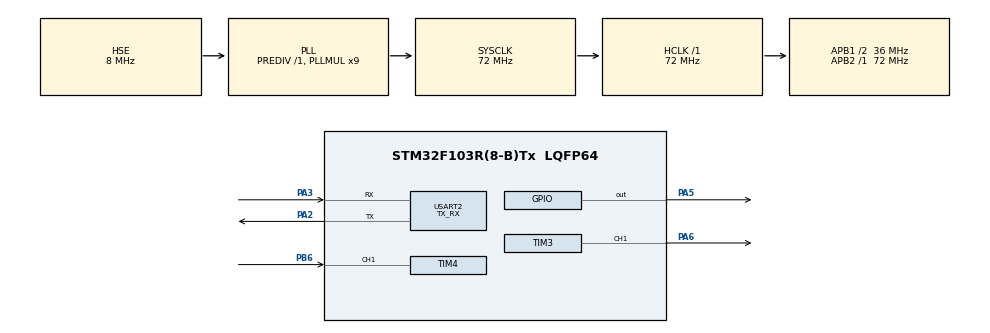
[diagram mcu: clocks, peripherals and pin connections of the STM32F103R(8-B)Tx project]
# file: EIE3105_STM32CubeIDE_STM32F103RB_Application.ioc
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Mcu.Family=STM32F1
Mcu.Name=STM32F103R(8-B)Tx
Mcu.Package=LQFP64
NVIC.PriorityGroup=NVIC_PRIORITYGROUP_4
NVIC.TIM4_IRQn=true\:0\:0\:false\:false\:true\:true\:true\:true
PA13.Mode=Serial_Wire
PA13.Signal=SYS_JTMS-SWDIO
PA14.Mode=Serial_Wire
PA14.Signal=SYS_JTCK-SWCLK
PA2.Mode=Asynchronous
PA2.Signal=USART2_TX
PA3.Mode=Asynchronous
PA3.Signal=USART2_RX
PA5.Signal=GPIO_Output
PA6.Signal=S_TIM3_CH1
PB6.Signal=S_TIM4_CH1
PD0-OSC_IN.Mode=HSE-External-Oscillator
PD0-OSC_IN.Signal=RCC_OSC_IN
PD1-OSC_OUT.Mode=HSE-External-Oscillator
PD1-OSC_OUT.Signal=RCC_OSC_OUT
ProjectManager.HeapSize=0x200
ProjectManager.StackSize=0x400
ProjectManager.TargetToolchain=STM32CubeIDE
RCC.AHBFreq_Value=72000000
RCC.APB1CLKDivider=RCC_HCLK_DIV2
RCC.APB1Freq_Value=36000000
RCC.APB1TimFreq_Value=72000000
RCC.APB2Freq_Value=72000000
RCC.APB2TimFreq_Value=72000000
RCC.HCLKFreq_Value=72000000
RCC.PLLMUL=RCC_PLL_MUL9
RCC.PLLSourceVirtual=RCC_PLLSOURCE_HSE
RCC.SYSCLKFreq_VALUE=72000000
RCC.SYSCLKSource=RCC_SYSCLKSOURCE_PLLCLK
RCC.USBFreq_Value=72000000
SH.S_TIM3_CH1.0=TIM3_CH1,PWM Generation1 CH1
SH.S_TIM4_CH1.0=TIM4_CH1,Input_Capture1_from_TI1
TIM3.Channel-PWM\ Generation1\ CH1=TIM_CHANNEL_1
TIM3.Period=200
TIM3.Prescaler=720-1
TIM3.Pulse-PWM\ Generation1\ CH1=0
TIM4.Channel-Input_Capture1_from_TI1=TIM_CHANNEL_1
TIM4.Period=65535
TIM4.Prescaler=720-1
USART2.Mode=MODE_TX_RX
USART2.VirtualMode=VM_ASYNC
VP_TIM3_VS_ClockSourceINT.Mode=Internal
VP_TIM4_VS_ClockSourceINT.Mode=Internal
board=custom

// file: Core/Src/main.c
/* USER CODE BEGIN Header */
/**
  ******************************************************************************
  * @file           : main.c
  * @brief          : Main program body
  ******************************************************************************
  * @attention
  *
  * Copyright (c) 2025 STMicroelectronics.
  * All rights reserved.
  *
  * This software is licensed under terms that can be found in the LICENSE file
  * in the root directory of this software component.
  * If no LICENSE file comes with this software, it is provided AS-IS.
  *
  ******************************************************************************
  */
#include <stdio.h>
#include <stdio.h>
#include <stdint.h>
#include <inttypes.h>
#include <string.h>

/* USER CODE END Header */
#include "main.h"

TIM_HandleTypeDef htim3;
TIM_HandleTypeDef htim4;

UART_HandleTypeDef huart2;

/* USER CODE BEGIN PV */
volatile uint32_t ic_value1 = 0; // Capture value at the first edge
volatile uint32_t ic_value2 = 0; // Capture value at the second edge
volatile uint32_t pulse_width_ticks_measured = 0; // High time in timer ticks
volatile uint8_t is_rising_edge = 1; // Flag to track edge detection

/* USER CODE END PV */

void SystemClock_Config(void);
static void MX_GPIO_Init(void);
static void MX_TIM3_Init(void);
static void MX_TIM4_Init(void);
static void MX_USART2_UART_Init(void);

/* USER CODE BEGIN 0 */

void delay(int t) {
 for(int i = 0; i < t; i++) {
	 HAL_GPIO_WritePin(GPIOA, GPIO_PIN_0, GPIO_PIN_SET);
 }
}

/* USER CODE BEGIN 0 */
void HAL_TIM_IC_CaptureCallback(TIM_HandleTypeDef *htim)
{
	if (htim->Instance == TIM4 && htim->Channel == HAL_TIM_ACTIVE_CHANNEL_1)
	{
		if (is_rising_edge)
		{
			// Capture rising edge
			ic_value1 = HAL_TIM_ReadCapturedValue(htim, TIM_CHANNEL_1);
			// Switch to detect falling edge
			__HAL_TIM_SET_CAPTUREPOLARITY(htim, TIM_CHANNEL_1, TIM_INPUTCHANNELPOLARITY_FALLING);
			is_rising_edge = 0;
		}
		else
		{
			// Capture falling edge
			ic_value2 = HAL_TIM_ReadCapturedValue(htim, TIM_CHANNEL_1);
			if (ic_value2 > ic_value1) // Calculate pulse width
			{
				pulse_width_ticks_measured = ic_value2 - ic_value1;
			}
//			else
//			{ // Handle overflow
//				pulse_width_measured = (0xFFFF - ic_value1) + ic_value2 + 1;
//			}
			// Switch back to detect the rising edge
			__HAL_TIM_SET_CAPTUREPOLARITY(htim, TIM_CHANNEL_1, TIM_INPUTCHANNELPOLARITY_RISING);
			is_rising_edge = 1;
		}
	}
}

/* USER CODE END 0 */

int main(void)
{

  /* MCU Configuration--------------------------------------------------------*/

  /* Reset of all peripherals, Initializes the Flash interface and the Systick. */
  HAL_Init();

  /* Configure the system clock */
  SystemClock_Config();

  /* Initialize all configured peripherals */
  MX_GPIO_Init();
  MX_TIM3_Init();
  MX_TIM4_Init();
  MX_USART2_UART_Init();
  /* USER CODE BEGIN 2 */
  HAL_TIM_IC_Start_IT(&htim4, TIM_CHANNEL_1);
  uint8_t tx_buffer[60] = { 0 };
  uint8_t rx_buffer[60] = { 0 };
  uint8_t rx_buffer_index = 0;
  uint8_t rx_char = 0;
  uint32_t previous_pulse_width_requested = 0;
  uint32_t pulse_width_requested = 0;

  /* USER CODE END 2 */

  /* Infinite loop */
  /* USER CODE BEGIN WHILE */
  while (1)
  {
	memset(tx_buffer,'\0', sizeof(tx_buffer));

	snprintf((char*)tx_buffer, sizeof(tx_buffer), "%" PRIu32 " ticks per period, %" PRIu32 "Hz per period, Prescaler is %" PRIu32 "\n", htim3.Init.Period, (HAL_RCC_GetSysClockFreq() / (htim3.Init.Prescaler * htim3.Init.Period)), htim3.Init.Prescaler);
	if(HAL_UART_Transmit(&huart2, tx_buffer, sizeof(tx_buffer), 0xFFFF) != HAL_OK)
	{
		Error_Handler();
	}

	memset(tx_buffer,'\0', sizeof(tx_buffer));
	snprintf((char*)tx_buffer, sizeof(tx_buffer), "New pulse width (%%) ('n' to read external PWM):\n");
	if(HAL_UART_Transmit(&huart2, tx_buffer, sizeof(tx_buffer), 0xFFFF) != HAL_OK)
	{
		Error_Handler();
	}

	rx_buffer_index = 0;

	do {
		if(HAL_UART_Receive(&huart2, &rx_char, 1, 0xFFFF) != HAL_OK)
		{
			Error_Handler();
			break;
		} else {
			rx_buffer[rx_buffer_index++] = rx_char;
			huart2.Instance->DR = rx_char;
			if (rx_char == '\n') {
				break;
			}
		}
	} while (1);

	memset(tx_buffer,'\0', sizeof(tx_buffer));
	if (rx_buffer[0] != 'n')
	{
		snprintf((char*)tx_buffer, sizeof(tx_buffer), "Setting PWM...\n");
		if(HAL_UART_Transmit(&huart2, tx_buffer, sizeof(tx_buffer), 0xFFFF) != HAL_OK)
		{
			Error_Handler();
		}
		sscanf((char*)rx_buffer, "%" SCNu32 "\n" , &pulse_width_requested);
		HAL_TIM_PWM_Start(&htim3, TIM_CHANNEL_1);
	} else {
		pulse_width_ticks_measured = 0;
		pulse_width_requested = 0;

		HAL_TIM_PWM_Stop(&htim3, TIM_CHANNEL_1);
	}

	if (pulse_width_requested == 0 || previous_pulse_width_requested != pulse_width_requested) {
		memset(tx_buffer,'\0', sizeof(tx_buffer));

		if (pulse_width_requested > 0) {
			uint32_t on_ticks_requested = pulse_width_requested * (htim3.Init.Period / 100);
			snprintf((char*)tx_buffer, sizeof(tx_buffer), "Pulse width requested %" PRIu32 "%%, equal to %" PRIu32 " HIGH ticks\n", pulse_width_requested, on_ticks_requested);
			__HAL_TIM_SET_COMPARE(&htim3, TIM_CHANNEL_1, on_ticks);
		} else {
			snprintf((char*)tx_buffer, sizeof(tx_buffer), "Reading external PWM source\n");
		}

		if(HAL_UART_Transmit(&huart2, tx_buffer, sizeof(tx_buffer), 0xFFFF) != HAL_OK)
		{
			Error_Handler();
		}

		HAL_Delay(2000);

		previous_pulse_width_requested = pulse_width_requested;
	}

	memset(tx_buffer, '\0', sizeof(tx_buffer));
	snprintf((char*)tx_buffer, sizeof(tx_buffer), "Pulse width measured %" PRIu32 "%%, equal to %" PRIu32 " HIGH ticks\n=======\n", pulse_width_ticks_measured * 100 / htim3.Init.Period, pulse_width_ticks_measured);
	if(HAL_UART_Transmit(&huart2, tx_buffer, sizeof(tx_buffer), 0xFFFF) != HAL_OK)
	{
		Error_Handler();
	}

    /* USER CODE END WHILE */

    /* USER CODE BEGIN 3 */
//	HAL_GPIO_WritePin(GPIOA, GPIO_PIN_5, GPIO_PIN_SET);
//	delay(50000);
//	HAL_GPIO_WritePin(GPIOA, GPIO_PIN_5, GPIO_PIN_RESET);
//	delay(50000);
  }
  /* USER CODE END 3 */
}

void SystemClock_Config(void)
{
  RCC_OscInitTypeDef RCC_OscInitStruct = {0};
  RCC_ClkInitTypeDef RCC_ClkInitStruct = {0};

  /** Initializes the RCC Oscillators according to the specified parameters
  * in the RCC_OscInitTypeDef structure.
  */
  RCC_OscInitStruct.OscillatorType = RCC_OSCILLATORTYPE_HSE;
  RCC_OscInitStruct.HSEState = RCC_HSE_ON;
  RCC_OscInitStruct.HSEPredivValue = RCC_HSE_PREDIV_DIV1;
  RCC_OscInitStruct.HSIState = RCC_HSI_ON;
  RCC_OscInitStruct.PLL.PLLState = RCC_PLL_ON;
  RCC_OscInitStruct.PLL.PLLSource = RCC_PLLSOURCE_HSE;
  RCC_OscInitStruct.PLL.PLLMUL = RCC_PLL_MUL9;
  if (HAL_RCC_OscConfig(&RCC_OscInitStruct) != HAL_OK)
  {
    Error_Handler();
  }

  /** Initializes the CPU, AHB and APB buses clocks
  */
  RCC_ClkInitStruct.ClockType = RCC_CLOCKTYPE_HCLK|RCC_CLOCKTYPE_SYSCLK
                              |RCC_CLOCKTYPE_PCLK1|RCC_CLOCKTYPE_PCLK2;
  RCC_ClkInitStruct.SYSCLKSource = RCC_SYSCLKSOURCE_PLLCLK;
  RCC_ClkInitStruct.AHBCLKDivider = RCC_SYSCLK_DIV1;
  RCC_ClkInitStruct.APB1CLKDivider = RCC_HCLK_DIV2;
  RCC_ClkInitStruct.APB2CLKDivider = RCC_HCLK_DIV1;

  if (HAL_RCC_ClockConfig(&RCC_ClkInitStruct, FLASH_LATENCY_2) != HAL_OK)
  {
    Error_Handler();
  }
}

static void MX_TIM3_Init(void)
{

  TIM_ClockConfigTypeDef sClockSourceConfig = {0};
  TIM_MasterConfigTypeDef sMasterConfig = {0};
  TIM_OC_InitTypeDef sConfigOC = {0};

  htim3.Instance = TIM3;
  htim3.Init.Prescaler = 720-1;
  htim3.Init.CounterMode = TIM_COUNTERMODE_UP;
  htim3.Init.Period = 200;
  htim3.Init.ClockDivision = TIM_CLOCKDIVISION_DIV1;
  htim3.Init.AutoReloadPreload = TIM_AUTORELOAD_PRELOAD_DISABLE;
  if (HAL_TIM_Base_Init(&htim3) != HAL_OK)
  {
    Error_Handler();
  }
  sClockSourceConfig.ClockSource = TIM_CLOCKSOURCE_INTERNAL;
  if (HAL_TIM_ConfigClockSource(&htim3, &sClockSourceConfig) != HAL_OK)
  {
    Error_Handler();
  }
  if (HAL_TIM_PWM_Init(&htim3) != HAL_OK)
  {
    Error_Handler();
  }
  sMasterConfig.MasterOutputTrigger = TIM_TRGO_RESET;
  sMasterConfig.MasterSlaveMode = TIM_MASTERSLAVEMODE_DISABLE;
  if (HAL_TIMEx_MasterConfigSynchronization(&htim3, &sMasterConfig) != HAL_OK)
  {
    Error_Handler();
  }
  sConfigOC.OCMode = TIM_OCMODE_PWM1;
  sConfigOC.Pulse = 0;
  sConfigOC.OCPolarity = TIM_OCPOLARITY_HIGH;
  sConfigOC.OCFastMode = TIM_OCFAST_DISABLE;
  if (HAL_TIM_PWM_ConfigChannel(&htim3, &sConfigOC, TIM_CHANNEL_1) != HAL_OK)
  {
    Error_Handler();
  }
  HAL_TIM_MspPostInit(&htim3);

}

static void MX_TIM4_Init(void)
{

  TIM_ClockConfigTypeDef sClockSourceConfig = {0};
  TIM_MasterConfigTypeDef sMasterConfig = {0};
  TIM_IC_InitTypeDef sConfigIC = {0};

  htim4.Instance = TIM4;
  htim4.Init.Prescaler = 720-1;
  htim4.Init.CounterMode = TIM_COUNTERMODE_UP;
  htim4.Init.Period = 65535;
  htim4.Init.ClockDivision = TIM_CLOCKDIVISION_DIV1;
  htim4.Init.AutoReloadPreload = TIM_AUTORELOAD_PRELOAD_DISABLE;
  if (HAL_TIM_Base_Init(&htim4) != HAL_OK)
  {
    Error_Handler();
  }
  sClockSourceConfig.ClockSource = TIM_CLOCKSOURCE_INTERNAL;
  if (HAL_TIM_ConfigClockSource(&htim4, &sClockSourceConfig) != HAL_OK)
  {
    Error_Handler();
  }
  if (HAL_TIM_IC_Init(&htim4) != HAL_OK)
  {
    Error_Handler();
  }
  sMasterConfig.MasterOutputTrigger = TIM_TRGO_RESET;
  sMasterConfig.MasterSlaveMode = TIM_MASTERSLAVEMODE_DISABLE;
  if (HAL_TIMEx_MasterConfigSynchronization(&htim4, &sMasterConfig) != HAL_OK)
  {
    Error_Handler();
  }
  sConfigIC.ICPolarity = TIM_INPUTCHANNELPOLARITY_RISING;
  sConfigIC.ICSelection = TIM_ICSELECTION_DIRECTTI;
  sConfigIC.ICPrescaler = TIM_ICPSC_DIV1;
  sConfigIC.ICFilter = 0;
  if (HAL_TIM_IC_ConfigChannel(&htim4, &sConfigIC, TIM_CHANNEL_1) != HAL_OK)
  {
    Error_Handler();
  }

}

static void MX_USART2_UART_Init(void)
{

  huart2.Instance = USART2;
  huart2.Init.BaudRate = 115200;
  huart2.Init.WordLength = UART_WORDLENGTH_8B;
  huart2.Init.StopBits = UART_STOPBITS_1;
  huart2.Init.Parity = UART_PARITY_NONE;
  huart2.Init.Mode = UART_MODE_TX_RX;
  huart2.Init.HwFlowCtl = UART_HWCONTROL_NONE;
  huart2.Init.OverSampling = UART_OVERSAMPLING_16;
  if (HAL_UART_Init(&huart2) != HAL_OK)
  {
    Error_Handler();
  }

}

static void MX_GPIO_Init(void)
{
  GPIO_InitTypeDef GPIO_InitStruct = {0};

  /* GPIO Ports Clock Enable */
  __HAL_RCC_GPIOD_CLK_ENABLE();
  __HAL_RCC_GPIOA_CLK_ENABLE();
  __HAL_RCC_GPIOB_CLK_ENABLE();

  /*Configure GPIO pin Output Level */
  HAL_GPIO_WritePin(GPIOA, GPIO_PIN_5, GPIO_PIN_RESET);

  /*Configure GPIO pin : PA5 */
  GPIO_InitStruct.Pin = GPIO_PIN_5;
  GPIO_InitStruct.Mode = GPIO_MODE_OUTPUT_PP;
  GPIO_InitStruct.Pull = GPIO_NOPULL;
  GPIO_InitStruct.Speed = GPIO_SPEED_FREQ_LOW;
  HAL_GPIO_Init(GPIOA, &GPIO_InitStruct);

}

void Error_Handler(void)
{
  __disable_irq();
  while (1)
  {
  }
}
